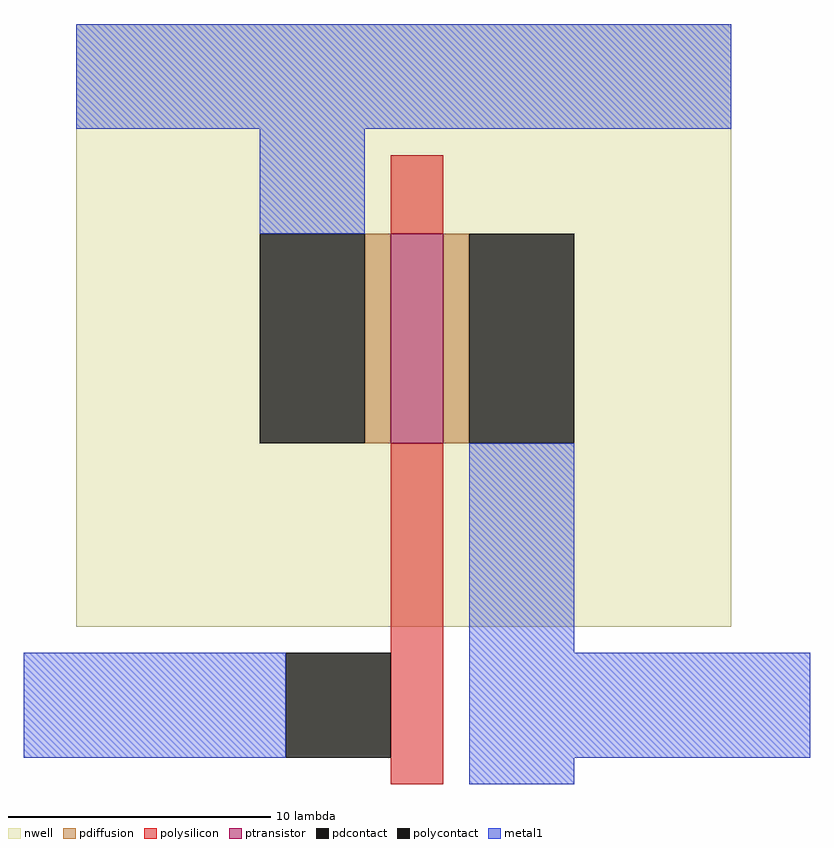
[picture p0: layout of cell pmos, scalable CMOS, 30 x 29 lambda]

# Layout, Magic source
magic
tech scmos
<< nwell >>
rect -8 -5 17 18
<< ptransistor >>
rect 4 2 6 10
<< pdiffusion >>
rect 3 2 4 10
rect 6 2 7 10
<< pdcontact >>
rect -1 2 3 10
rect 7 2 11 10
<< polysilicon >>
rect 4 10 6 13
rect 4 -11 6 2
<< polycontact >>
rect 0 -10 4 -6
<< metal1 >>
rect -8 14 17 18
rect -1 10 3 14
rect 7 -6 11 2
rect -10 -10 0 -6
rect 7 -10 20 -6
rect 7 -11 11 -10
<< end >>
